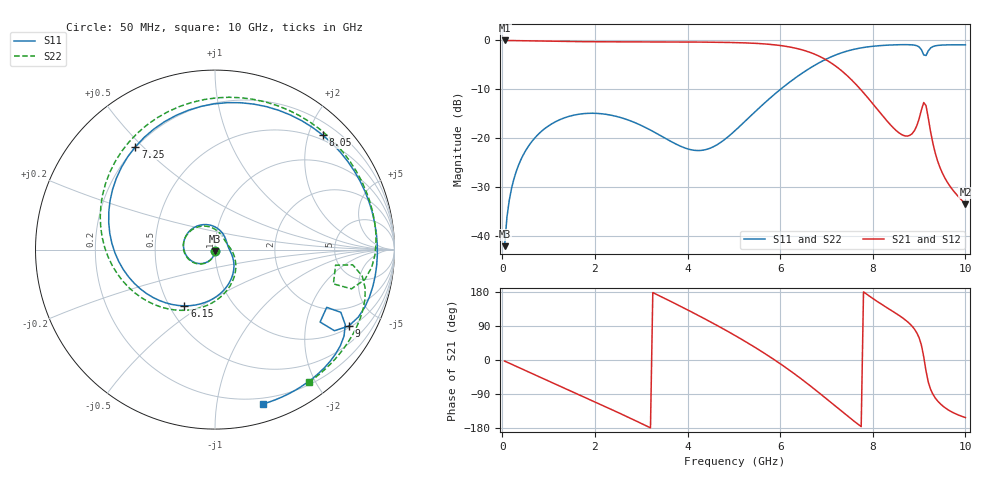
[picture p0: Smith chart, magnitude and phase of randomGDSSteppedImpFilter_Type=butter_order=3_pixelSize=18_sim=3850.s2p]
! freq	dB(S11)	phase(S11)	dB(S12)	phase(S12)
!  dB(S21)	phase(S21)	dB(S22)	phase(S22)
!S-par simulation data
#  GHz  S  DB  R 50
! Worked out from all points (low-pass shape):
!   200 points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, 50 MHz to 10 GHz, reference 50 ohm
!   highest |S21| = -0.01 dB at 50 MHz (marker M1); lowest = -33.6 dB at 10 GHz (marker M2)
!   |S21| within 3 dB of the highest: start of sweep to 6.791 GHz
!   lowest |S11| = -42.2 dB at 50 MHz (marker M3), VSWR 1.02, Z = 50 - j0.779 ohm
!   |S11| at or under -10 dB: start of sweep to 6.01 GHz
!   |S22| runs from -42.2 to -0.9 dB; largest |S21 - S12| = 0
!   S11 on the Smith chart (normalised r, x): 50 MHz: 1.00, -0.02; 6.15 GHz: 0.59, -0.43; 7.25 GHz: 0.20, +0.48; 8.05 GHz: 0.41, +2.25; 9 GHz: 1.07, -3.46; 10 GHz: 0.15, -1.35
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0.05  -42.17 -90.8  -0.01 -2.8  -0.01 -2.8  -42.16 -90.8
0.2  -30.32 -101.1  -0.02 -11.2  -0.02 -11.2  -30.32 -100.7
0.5  -22.66 -118.7  -0.06 -27.9  -0.06 -27.9  -22.66 -117.8
1.15  -16.66 -155.5  -0.17 -63.7  -0.17 -63.7  -16.66 -153.4
1.75  -15.01 170.7  -0.25 -96.7  -0.25 -96.7  -15.02 174.3
2.65  -16.09 118.5  -0.29 -147.1  -0.29 -147.1  -16.10 125.7
3.4  -19.42 71.9  -0.29 169.0  -0.29 169.0  -19.44 84.5
4.3  -22.53 14.5  -0.34 113.3  -0.34 113.3  -22.59 30.4
5.05  -18.29 -31.8  -0.45 63.0  -0.45 63.0  -18.30 -24.1
5.65  -12.94 -75.6  -0.71 18.6  -0.71 18.6  -12.91 -70.0
6.15  -8.95 -118.6  -1.25 -22.5  -1.25 -22.5  -8.90 -111.2
6.7  -5.35 -172.9  -2.65 -72.9  -2.65 -72.9  -5.30 -161.3
7.25  -2.79 127.7  -5.63 -127.6  -5.63 -127.6  -2.77 143.8
7.65  -1.71 85.2  -9.14 -166.6  -9.14 -166.6  -1.71 103.8
8.05  -1.15 46.8  -13.55 158.3  -13.55 158.3  -1.17 66.6
8.35  -0.95 21.3  -16.96 134.6  -16.96 134.6  -0.97 41.2
8.75  -0.87 -9.3  -19.61 101.1  -19.61 101.1  -0.89 10.1
9  -1.33 -29.7  -16.08 58.9  -16.08 58.9  -1.40 -11.3
9.15  -3.09 -27.3  -13.36 -29.3  -13.36 -29.3  -3.38 -7.4
9.25  -1.53 -30.0  -18.79 -77.9  -18.79 -77.9  -1.59 -10.1
9.45  -0.98 -44.0  -26.02 -114.5  -26.02 -114.5  -0.97 -25.0
10  -0.91 -72.7  -33.56 -151.8  -33.56 -151.8  -0.86 -54.8
